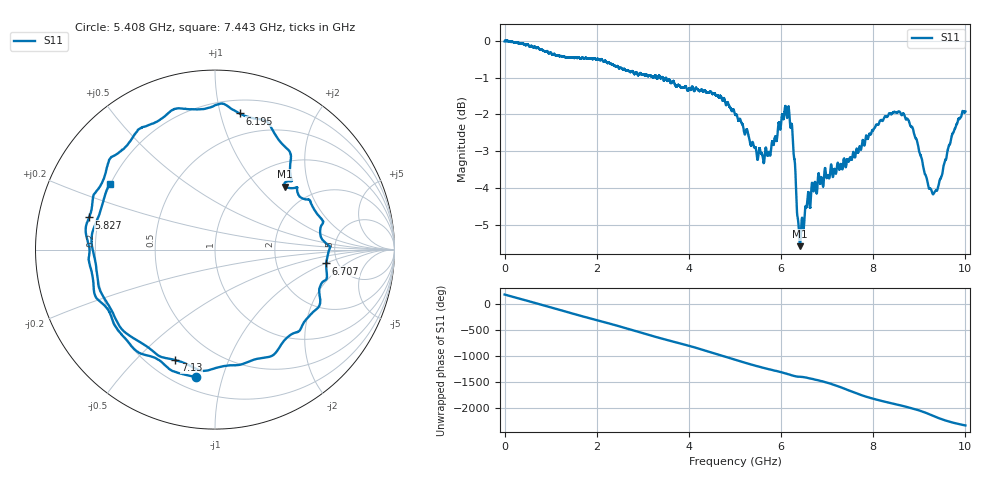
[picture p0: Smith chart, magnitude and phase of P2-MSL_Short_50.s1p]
! 2/19/2018 12:57:58 PM
! E:\STEPPED_EXPERIMENT_2018-02-19\P2-MSL_SHORT_50.S1P
! CHANNEL.1
! TR.MEASUREMENT
! CORRECTED.DATA
# GHZ S RI R 50.0
! FREQ.GHZ  S22RE  S22IM
!; PortSelection: Port_2
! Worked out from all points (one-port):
!   10000 points, 1 MHz to 10 GHz, reference 50 ohm
!   lowest |S11| = -5.6 dB at 6.412 GHz (marker M1), VSWR 3.22, Z = 73.2 + j71.1 ohm
!   |S11| at or under -10 dB: nowhere
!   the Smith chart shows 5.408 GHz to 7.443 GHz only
!   S11 on the Smith chart (normalised r, x): 5.408 GHz: 0.28, -0.83; 5.827 GHz: 0.16, +0.12; 6.195 GHz: 0.31, +1.15; 6.707 GHz: 4.05, -1.02; 7.13 GHz: 0.31, -0.66; 7.443 GHz: 0.20, +0.28
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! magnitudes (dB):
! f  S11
! 1 MHz  0.0
! 1.251 GHz  -0.4
! 2.501 GHz  -0.7
! 3.751 GHz  -1.2
! 4.517 GHz  -1.4
! 5.001 GHz  -2.0
! 5.408 GHz  -2.9
! 5.605 GHz  -3.2
! 5.827 GHz  -2.8
! 6.061 GHz  -2.1
! 6.195 GHz  -2.3
! 6.251 GHz  -2.6
! 6.372 GHz  -4.9
! 6.412 GHz  -5.6
! 6.561 GHz  -4.5
! 6.707 GHz  -4.1
! 7.13 GHz  -3.7
! 7.443 GHz  -3.2
! 7.501 GHz  -3.2
! 8.301 GHz  -2.1
! 8.544 GHz  -1.9
! 8.751 GHz  -2.1
! 8.932 GHz  -2.7
! 9.198 GHz  -4.0
! 9.32 GHz  -4.1
! 9.431 GHz  -3.8
! 9.742 GHz  -2.5
! 10 GHz  -1.9
